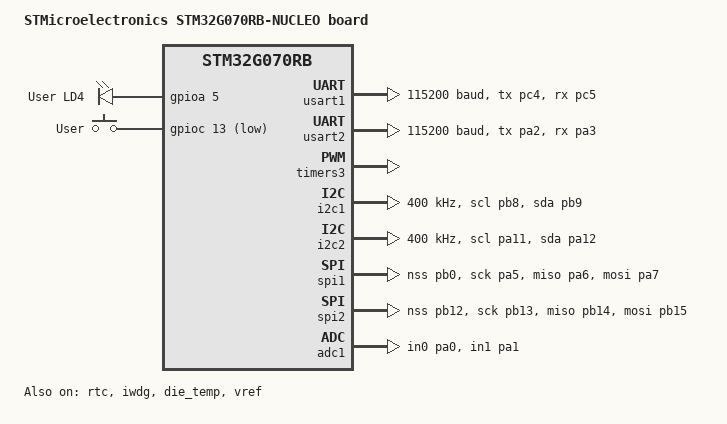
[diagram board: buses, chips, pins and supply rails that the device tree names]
/*
 * Copyright (c) 2023 Marin Jurjević <marin.jurjevic@hotmail.com>
 *
 * SPDX-License-Identifier: Apache-2.0
 */

/dts-v1/;
#include <st/g0/stm32g070Xb.dtsi>
#include <st/g0/stm32g070rbtx-pinctrl.dtsi>
#include "arduino_r3_connector.dtsi"
#include "st_morpho_connector.dtsi"
#include <zephyr/dt-bindings/input/input-event-codes.h>

/ {
	model = "STMicroelectronics STM32G070RB-NUCLEO board";
	compatible = "st,stm32g070rb-nucleo";

	chosen {
		zephyr,console = &usart2;
		zephyr,shell-uart = &usart2;
		zephyr,sram = &sram0;
		zephyr,flash = &flash0;
	};

	leds: leds {
		compatible = "gpio-leds";

		green_led_1: led_4 {
			gpios = <&gpioa 5 GPIO_ACTIVE_HIGH>;
			label = "User LD4";
		};
	};

	gpio_keys {
		compatible = "gpio-keys";

		user_button: button {
			label = "User";
			gpios = <&gpioc 13 GPIO_ACTIVE_LOW>;
			zephyr,code = <INPUT_KEY_0>;
		};
	};

	aliases {
		led0 = &green_led_1;
		sw0 = &user_button;
		watchdog0 = &iwdg;
		die-temp0 = &die_temp;
		volt-sensor0 = &vref;
	};
};

&clk_lsi {
	status = "okay";
};

&clk_hsi {
	status = "okay";
};

&pll {
	div-m = <1>;
	mul-n = <8>;
	div-p = <2>;
	div-r = <2>;
	clocks = <&clk_hsi>;
	status = "okay";
};

&rcc {
	clocks = <&pll>;
	clock-frequency = <DT_FREQ_M(64)>;
	ahb-prescaler = <1>;
	apb1-prescaler = <1>;
};

&usart1 {
	pinctrl-0 = <&usart1_tx_pc4 &usart1_rx_pc5>;
	pinctrl-names = "default";
	current-speed = <115200>;
	status = "okay";
};

&usart2 {
	pinctrl-0 = <&usart2_tx_pa2 &usart2_rx_pa3>;
	pinctrl-names = "default";
	current-speed = <115200>;
	status = "okay";
};

&rtc {
	clocks = <&rcc STM32_CLOCK(APB1, 10)>,
		 <&rcc STM32_SRC_LSI RTC_SEL(2)>;

	status = "okay";
};

&iwdg {
	status = "okay";
};

&timers3 {
	st,prescaler = <10000>;
	status = "okay";

	pwm3: pwm {
		status = "okay";
		pinctrl-0 = <&tim3_ch1_pa6>;
		pinctrl-names = "default";
	};
};

&i2c1 {
	pinctrl-0 = <&i2c1_scl_pb8 &i2c1_sda_pb9>;
	pinctrl-names = "default";
	status = "okay";
	clock-frequency = <I2C_BITRATE_FAST>;
};

&i2c2 {
	pinctrl-0 = <&i2c2_scl_pa11 &i2c2_sda_pa12>;
	pinctrl-names = "default";
	status = "okay";
	clock-frequency = <I2C_BITRATE_FAST>;
};

&spi1 {
	pinctrl-0 = <&spi1_nss_pb0 &spi1_sck_pa5
		     &spi1_miso_pa6 &spi1_mosi_pa7>;
	pinctrl-names = "default";
	status = "okay";
};

&spi2 {
	pinctrl-0 = <&spi2_nss_pb12 &spi2_sck_pb13
		     &spi2_miso_pb14 &spi2_mosi_pb15>;
	pinctrl-names = "default";
	status = "okay";
};

&adc1 {
	pinctrl-0 = <&adc1_in0_pa0 &adc1_in1_pa1>;
	pinctrl-names = "default";
	st,adc-clock-source = "SYNC";
	st,adc-prescaler = <4>;
	status = "okay";
	vref-mv = <3300>;
};

&die_temp {
	status = "okay";
};

&flash0 {
	partitions {
		compatible = "fixed-partitions";
		#address-cells = <1>;
		#size-cells = <1>;

		/* Set 4KB of storage at the end of 128KB flash */
		storage_partition: partition@1f000 {
			label = "storage";
			reg = <0x0001f000 DT_SIZE_K(4)>;
		};
	};
};

&vref {
	status = "okay";
};
